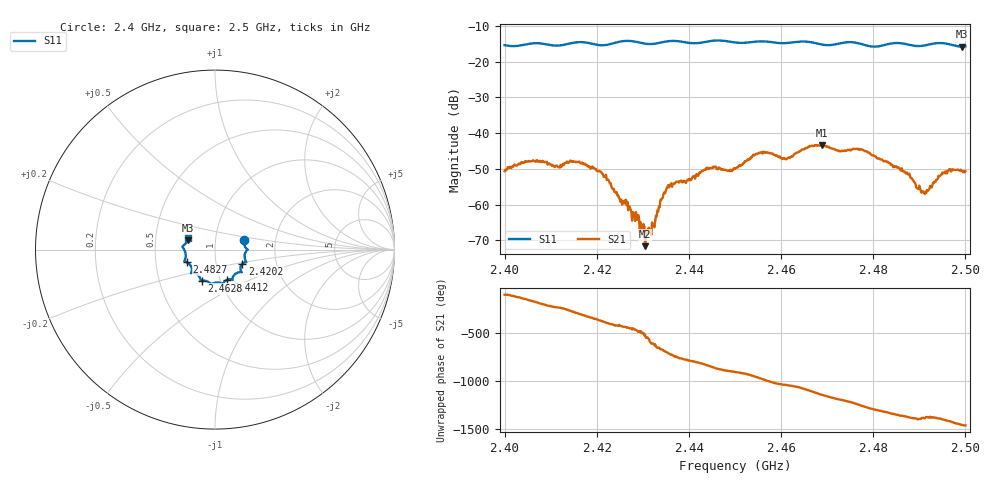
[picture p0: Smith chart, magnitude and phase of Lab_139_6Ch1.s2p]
# Hz S RI R 50
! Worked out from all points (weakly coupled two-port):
!   601 points, 2.4 GHz to 2.5 GHz, reference 50 ohm
!   highest |S21| = -43.31 dB at 2.4688 GHz (marker M1); lowest = -71.6 dB at 2.4305 GHz (marker M2)
!   lowest |S11| = -15.8 dB at 2.4993 GHz (marker M3), VSWR 1.39, Z = 36.5 + j4.05 ohm
!   |S11| at or under -10 dB: start of sweep to end of sweep
!   S12 and S22 are empty: the file has one direction only
!   S11 on the Smith chart (normalised r, x): 2.4 GHz: 1.38, +0.15; 2.4202 GHz: 1.34, -0.22; 2.4412 GHz: 1.08, -0.37; 2.4628 GHz: 0.82, -0.29; 2.4827 GHz: 0.72, -0.10; 2.5 GHz: 0.73, +0.10
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2.4e9  0.1615 0.0534  -0.00015 -0.00294  0 0  0 0
2.405667e9  0.1797 0.00158  -0.00376 -0.00153  0 0  0 0
2.416667e9  0.1746 -0.0697  0.00194 0.00325  0 0  0 0
2.420167e9  0.1532 -0.0778  0.00294 0.000292  0 0  0 0
2.4305e9  0.1228 -0.1298  -0.000237 -0.000114  0 0  0 0
2.432e9  0.1077 -0.1403  -0.000248 0.000507  0 0  0 0
2.433333e9  0.0997 -0.1524  0.000262 0.000761  0 0  0 0
2.435667e9  0.098 -0.1674  0.00172 0.000278  0 0  0 0
2.441167e9  0.0687 -0.1678  0.000654 -0.00244  0 0  0 0
2.445333e9  0.0436 -0.1919  -0.0025 -0.00232  0 0  0 0
2.45e9  0.0248 -0.1842  -0.00316 0.000259  0 0  0 0
2.455333e9  -0.0174 -0.1917  -0.00177 0.00495  0 0  0 0
2.462833e9  -0.0717 -0.1733  0.00453 0.00224  0 0  0 0
2.466667e9  -0.0805 -0.1682  0.00584 -0.00328  0 0  0 0
2.468833e9  -0.0877 -0.1502  0.00297 -0.00615  0 0  0 0
2.477333e9  -0.1297 -0.1212  -0.00593 -0.000299  0 0  0 0
2.482667e9  -0.1578 -0.0705  -0.0017 0.00372  0 0  0 0
2.483333e9  -0.1632 -0.0685  -0.0011 0.0037  0 0  0 0
2.491e9  -0.168 -0.00815  0.000916 0.00119  0 0  0 0
2.495333e9  -0.1802 0.0189  0.00226 0.00157  0 0  0 0
2.499333e9  -0.1531 0.054  0.00273 -0.00114  0 0  0 0
2.5e9  -0.1506 0.0642  0.00265 -0.00128  0 0  0 0
